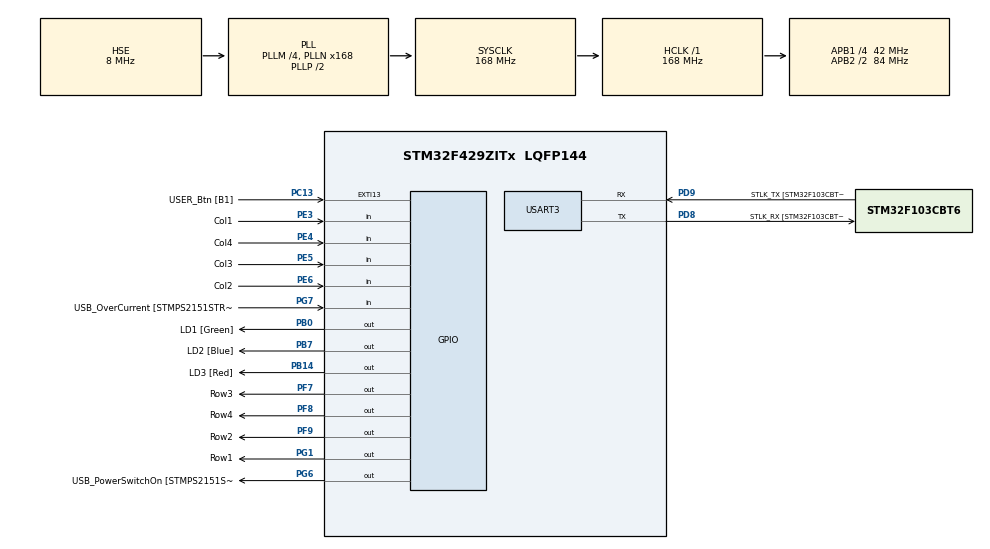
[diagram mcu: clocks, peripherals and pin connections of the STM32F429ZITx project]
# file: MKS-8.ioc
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Mcu.Family=STM32F4
Mcu.Name=STM32F429ZITx
Mcu.Package=LQFP144
NVIC.PriorityGroup=NVIC_PRIORITYGROUP_4
NVIC.TIM3_IRQn=true\:0\:0\:false\:false\:true\:true\:true
PA1.GPIO_Label=RMII_REF_CLK [LAN8742A-CZ-TR_REFCLK0]
PA1.Signal=ETH_REF_CLK
PA10.GPIO_Label=USB_ID
PA10.Signal=USB_OTG_FS_ID
PA11.GPIO_Label=USB_DM
PA11.Signal=USB_OTG_FS_DM
PA12.GPIO_Label=USB_DP
PA12.Signal=USB_OTG_FS_DP
PA13.GPIO_Label=TMS
PA13.Mode=Serial_Wire
PA13.Signal=SYS_JTMS-SWDIO
PA14.GPIO_Label=TCK
PA14.Mode=Serial_Wire
PA14.Signal=SYS_JTCK-SWCLK
PA2.GPIO_Label=RMII_MDIO [LAN8742A-CZ-TR_MDIO]
PA2.Signal=ETH_MDIO
PA7.GPIO_Label=RMII_CRS_DV [LAN8742A-CZ-TR_CRS_DV]
PA7.Signal=ETH_CRS_DV
PA8.GPIO_Label=USB_SOF [TP1]
PA8.Signal=USB_OTG_FS_SOF
PA9.GPIO_Label=USB_VBUS
PA9.Signal=USB_OTG_FS_VBUS
PB0.GPIO_Label=LD1 [Green]
PB0.Signal=GPIO_Output
PB13.GPIO_Label=RMII_TXD1 [LAN8742A-CZ-TR_TXD1]
PB13.Signal=ETH_TXD1
PB14.GPIO_Label=LD3 [Red]
PB14.Signal=GPIO_Output
PB7.GPIO_Label=LD2 [Blue]
PB7.Signal=GPIO_Output
PC1.GPIO_Label=RMII_MDC [LAN8742A-CZ-TR_MDC]
PC1.Signal=ETH_MDC
PC13.GPIO_Label=USER_Btn [B1]
PC13.Signal=GPXTI13
PC14/OSC32_IN.Mode=LSE-External-Oscillator
PC14/OSC32_IN.Signal=RCC_OSC32_IN
PC15/OSC32_OUT.Mode=LSE-External-Oscillator
PC15/OSC32_OUT.Signal=RCC_OSC32_OUT
PC4.GPIO_Label=RMII_RXD0 [LAN8742A-CZ-TR_RXD0]
PC4.Signal=ETH_RXD0
PC5.GPIO_Label=RMII_RXD1 [LAN8742A-CZ-TR_RXD1]
PC5.Signal=ETH_RXD1
PD8.GPIO_Label=STLK_RX [STM32F103CBT6_PA3]
PD8.Mode=Asynchronous
PD8.Signal=USART3_TX
PD9.GPIO_Label=STLK_TX [STM32F103CBT6_PA2]
PD9.Mode=Asynchronous
PD9.Signal=USART3_RX
PE3.GPIO_Label=Col1
PE3.GPIO_PuPd=GPIO_PULLUP
PE3.Signal=GPIO_Input
PE4.GPIO_Label=Col4
PE4.GPIO_PuPd=GPIO_PULLUP
PE4.Signal=GPIO_Input
PE5.GPIO_Label=Col3
PE5.GPIO_PuPd=GPIO_PULLUP
PE5.Signal=GPIO_Input
PE6.GPIO_Label=Col2
PE6.GPIO_PuPd=GPIO_PULLUP
PE6.Signal=GPIO_Input
PF7.GPIO_Label=Row3
PF7.GPIO_ModeDefaultOutputPP=GPIO_MODE_OUTPUT_OD
PF7.Signal=GPIO_Output
PF8.GPIO_Label=Row4
PF8.GPIO_ModeDefaultOutputPP=GPIO_MODE_OUTPUT_OD
PF8.Signal=GPIO_Output
PF9.GPIO_Label=Row2
PF9.GPIO_ModeDefaultOutputPP=GPIO_MODE_OUTPUT_OD
PF9.Signal=GPIO_Output
PG1.GPIO_Label=Row1
PG1.GPIO_ModeDefaultOutputPP=GPIO_MODE_OUTPUT_OD
PG1.Signal=GPIO_Output
PG11.GPIO_Label=RMII_TX_EN [LAN8742A-CZ-TR_TXEN]
PG11.Signal=ETH_TX_EN
PG13.GPIO_Label=RMII_TXD0 [LAN8742A-CZ-TR_TXD0]
PG13.Signal=ETH_TXD0
PG6.GPIO_Label=USB_PowerSwitchOn [STMPS2151STR_EN]
PG6.Signal=GPIO_Output
PG7.GPIO_Label=USB_OverCurrent [STMPS2151STR_FAULT]
PG7.Signal=GPIO_Input
PH0/OSC_IN.GPIO_Label=MCO [STM32F103CBT6_PA8]
PH0/OSC_IN.Mode=HSE-External-Clock-Source
PH0/OSC_IN.Signal=RCC_OSC_IN
PH1/OSC_OUT.Mode=HSE-External-Clock-Source
PH1/OSC_OUT.Signal=RCC_OSC_OUT
ProjectManager.HeapSize=0x200
ProjectManager.StackSize=0x400
ProjectManager.TargetToolchain=STM32CubeIDE
RCC.48MHZClocksFreq_Value=48000000
RCC.AHBFreq_Value=168000000
RCC.APB1CLKDivider=RCC_HCLK_DIV4
RCC.APB1Freq_Value=42000000
RCC.APB1TimFreq_Value=84000000
RCC.APB2CLKDivider=RCC_HCLK_DIV2
RCC.APB2Freq_Value=84000000
RCC.APB2TimCLKDivider=2
RCC.APB2TimFreq_Value=168000000
RCC.CortexFreq_Value=168000000
RCC.HCLKFreq_Value=168000000
RCC.HSE_VALUE=8000000
RCC.HSI_VALUE=16000000
RCC.PLLM=4
RCC.PLLMUL=RCC_PLL_MUL9
RCC.PLLN=168
RCC.PLLQ=7
RCC.PLLSourceVirtual=RCC_PLLSOURCE_HSE
RCC.PRESCALERUSB=RCC_USBCLKSOURCE_PLL_DIV1_5
RCC.SYSCLKFreq_VALUE=168000000
RCC.SYSCLKSource=RCC_SYSCLKSOURCE_PLLCLK
RCC.SYSCLKSourceVirtual=RCC_SYSCLKSOURCE_PLLCLK
RCC.USBFreq_Value=48000000
RCC.VCOOutputFreq_Value=336000000
TIM3.AutoReloadPreload=TIM_AUTORELOAD_PRELOAD_ENABLE
USART3.VirtualMode=VM_ASYNC
VP_TIM3_VS_ClockSourceINT.Mode=Internal
board=NUCLEO-F429ZI

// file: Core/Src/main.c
/* USER CODE BEGIN Header */
/**
  ******************************************************************************
  * @file           : main.c
  * @brief          : Main program body
  ******************************************************************************
  * @attention
  *
  * <h2><center>&copy; Copyright (c) 2021 STMicroelectronics.
  * All rights reserved.</center></h2>
  *
  * This software component is licensed by ST under BSD 3-Clause license,
  * the "License"; You may not use this file except in compliance with the
  * License. You may obtain a copy of the License at:
  *                        opensource.org/licenses/BSD-3-Clause
  *
  ******************************************************************************
  */
/* USER CODE END Header */
#include "main.h"

/* USER CODE BEGIN Includes */

#include <stdio.h>

/* USER CODE END Includes */

TIM_HandleTypeDef htim3;

UART_HandleTypeDef huart3;

/* USER CODE BEGIN PV */

static volatile int8_t key = -1;
static volatile int8_t pos = 0;
static const int8_t lock[] = { 7, 9, 3, 2, 12 };

/* USER CODE END PV */

void SystemClock_Config(void);
static void MX_GPIO_Init(void);
static void MX_USART3_UART_Init(void);
static void MX_TIM3_Init(void);

/* USER CODE BEGIN 0 */

int __io_putchar(int ch)
{
  ITM_SendChar(ch);
  return 0;
}

/* USER CODE END 0 */

int main(void)
{
  /* USER CODE BEGIN 1 */

	  printf("...START\n");

  /* USER CODE END 1 */

  /* MCU Configuration--------------------------------------------------------*/

  /* Reset of all peripherals, Initializes the Flash interface and the Systick. */
  HAL_Init();

  /* Configure the system clock */
  SystemClock_Config();

  /* Initialize all configured peripherals */
  MX_GPIO_Init();
  MX_USART3_UART_Init();
  MX_TIM3_Init();
  /* USER CODE BEGIN 2 */

  HAL_TIM_Base_Start_IT(&htim3);

  /* USER CODE END 2 */

  /* Infinite loop */
  /* USER CODE BEGIN WHILE */
  while (1)
  {
/*
	  HAL_GPIO_TogglePin(LD1_GPIO_Port, LD1_Pin);
	  HAL_Delay(250);
	  printf("Tick\n");
*/
/*
if (key != -1)
{
	printf("klavesa = %d\n",key);
	key=-1;
}*/

if (key != -1)
{
	//printf("klavesa = %d\n",key);

	if(key == lock[pos])
		{
			//HAL_GPIO_TogglePin(LD1_GPIO_Port, LD1_Pin);
			printf("klavesa = %d\n OK ",key);
			HAL_Delay(250);

			if(pos >= 4)
				{
					printf("Zamek se podrilo odemknout ",key);
					pos = 0;
				}
			pos++;
		}
	key=-1;
}

    /* USER CODE END WHILE */

  }
}

void SystemClock_Config(void)
{
  RCC_OscInitTypeDef RCC_OscInitStruct = {0};
  RCC_ClkInitTypeDef RCC_ClkInitStruct = {0};

  /** Configure the main internal regulator output voltage
  */
  __HAL_RCC_PWR_CLK_ENABLE();
  __HAL_PWR_VOLTAGESCALING_CONFIG(PWR_REGULATOR_VOLTAGE_SCALE1);
  /** Initializes the RCC Oscillators according to the specified parameters
  * in the RCC_OscInitTypeDef structure.
  */
  RCC_OscInitStruct.OscillatorType = RCC_OSCILLATORTYPE_HSE;
  RCC_OscInitStruct.HSEState = RCC_HSE_BYPASS;
  RCC_OscInitStruct.PLL.PLLState = RCC_PLL_ON;
  RCC_OscInitStruct.PLL.PLLSource = RCC_PLLSOURCE_HSE;
  RCC_OscInitStruct.PLL.PLLM = 4;
  RCC_OscInitStruct.PLL.PLLN = 168;
  RCC_OscInitStruct.PLL.PLLP = RCC_PLLP_DIV2;
  RCC_OscInitStruct.PLL.PLLQ = 7;
  if (HAL_RCC_OscConfig(&RCC_OscInitStruct) != HAL_OK)
  {
    Error_Handler();
  }
  /** Initializes the CPU, AHB and APB buses clocks
  */
  RCC_ClkInitStruct.ClockType = RCC_CLOCKTYPE_HCLK|RCC_CLOCKTYPE_SYSCLK
                              |RCC_CLOCKTYPE_PCLK1|RCC_CLOCKTYPE_PCLK2;
  RCC_ClkInitStruct.SYSCLKSource = RCC_SYSCLKSOURCE_PLLCLK;
  RCC_ClkInitStruct.AHBCLKDivider = RCC_SYSCLK_DIV1;
  RCC_ClkInitStruct.APB1CLKDivider = RCC_HCLK_DIV4;
  RCC_ClkInitStruct.APB2CLKDivider = RCC_HCLK_DIV2;

  if (HAL_RCC_ClockConfig(&RCC_ClkInitStruct, FLASH_LATENCY_5) != HAL_OK)
  {
    Error_Handler();
  }
}

static void MX_TIM3_Init(void)
{

  TIM_ClockConfigTypeDef sClockSourceConfig = {0};
  TIM_MasterConfigTypeDef sMasterConfig = {0};

  htim3.Instance = TIM3;
  htim3.Init.Prescaler = 0;
  htim3.Init.CounterMode = TIM_COUNTERMODE_UP;
  htim3.Init.Period = 65535;
  htim3.Init.ClockDivision = TIM_CLOCKDIVISION_DIV1;
  htim3.Init.AutoReloadPreload = TIM_AUTORELOAD_PRELOAD_ENABLE;
  if (HAL_TIM_Base_Init(&htim3) != HAL_OK)
  {
    Error_Handler();
  }
  sClockSourceConfig.ClockSource = TIM_CLOCKSOURCE_INTERNAL;
  if (HAL_TIM_ConfigClockSource(&htim3, &sClockSourceConfig) != HAL_OK)
  {
    Error_Handler();
  }
  sMasterConfig.MasterOutputTrigger = TIM_TRGO_RESET;
  sMasterConfig.MasterSlaveMode = TIM_MASTERSLAVEMODE_DISABLE;
  if (HAL_TIMEx_MasterConfigSynchronization(&htim3, &sMasterConfig) != HAL_OK)
  {
    Error_Handler();
  }

}

static void MX_USART3_UART_Init(void)
{

  huart3.Instance = USART3;
  huart3.Init.BaudRate = 115200;
  huart3.Init.WordLength = UART_WORDLENGTH_8B;
  huart3.Init.StopBits = UART_STOPBITS_1;
  huart3.Init.Parity = UART_PARITY_NONE;
  huart3.Init.Mode = UART_MODE_TX_RX;
  huart3.Init.HwFlowCtl = UART_HWCONTROL_NONE;
  huart3.Init.OverSampling = UART_OVERSAMPLING_16;
  if (HAL_UART_Init(&huart3) != HAL_OK)
  {
    Error_Handler();
  }

}

static void MX_GPIO_Init(void)
{
  GPIO_InitTypeDef GPIO_InitStruct = {0};

  /* GPIO Ports Clock Enable */
  __HAL_RCC_GPIOE_CLK_ENABLE();
  __HAL_RCC_GPIOC_CLK_ENABLE();
  __HAL_RCC_GPIOF_CLK_ENABLE();
  __HAL_RCC_GPIOH_CLK_ENABLE();
  __HAL_RCC_GPIOA_CLK_ENABLE();
  __HAL_RCC_GPIOB_CLK_ENABLE();
  __HAL_RCC_GPIOG_CLK_ENABLE();
  __HAL_RCC_GPIOD_CLK_ENABLE();

  /*Configure GPIO pin Output Level */
  HAL_GPIO_WritePin(GPIOF, Row3_Pin|Row4_Pin|Row2_Pin, GPIO_PIN_RESET);

  /*Configure GPIO pin Output Level */
  HAL_GPIO_WritePin(GPIOB, LD1_Pin|LD3_Pin|LD2_Pin, GPIO_PIN_RESET);

  /*Configure GPIO pin Output Level */
  HAL_GPIO_WritePin(GPIOG, Row1_Pin|USB_PowerSwitchOn_Pin, GPIO_PIN_RESET);

  /*Configure GPIO pins : Col1_Pin Col4_Pin Col3_Pin Col2_Pin */
  GPIO_InitStruct.Pin = Col1_Pin|Col4_Pin|Col3_Pin|Col2_Pin;
  GPIO_InitStruct.Mode = GPIO_MODE_INPUT;
  GPIO_InitStruct.Pull = GPIO_PULLUP;
  HAL_GPIO_Init(GPIOE, &GPIO_InitStruct);

  /*Configure GPIO pin : USER_Btn_Pin */
  GPIO_InitStruct.Pin = USER_Btn_Pin;
  GPIO_InitStruct.Mode = GPIO_MODE_IT_RISING;
  GPIO_InitStruct.Pull = GPIO_NOPULL;
  HAL_GPIO_Init(USER_Btn_GPIO_Port, &GPIO_InitStruct);

  /*Configure GPIO pins : Row3_Pin Row4_Pin Row2_Pin */
  GPIO_InitStruct.Pin = Row3_Pin|Row4_Pin|Row2_Pin;
  GPIO_InitStruct.Mode = GPIO_MODE_OUTPUT_OD;
  GPIO_InitStruct.Pull = GPIO_NOPULL;
  GPIO_InitStruct.Speed = GPIO_SPEED_FREQ_LOW;
  HAL_GPIO_Init(GPIOF, &GPIO_InitStruct);

  /*Configure GPIO pins : RMII_MDC_Pin RMII_RXD0_Pin RMII_RXD1_Pin */
  GPIO_InitStruct.Pin = RMII_MDC_Pin|RMII_RXD0_Pin|RMII_RXD1_Pin;
  GPIO_InitStruct.Mode = GPIO_MODE_AF_PP;
  GPIO_InitStruct.Pull = GPIO_NOPULL;
  GPIO_InitStruct.Speed = GPIO_SPEED_FREQ_VERY_HIGH;
  GPIO_InitStruct.Alternate = GPIO_AF11_ETH;
  HAL_GPIO_Init(GPIOC, &GPIO_InitStruct);

  /*Configure GPIO pins : RMII_REF_CLK_Pin RMII_MDIO_Pin RMII_CRS_DV_Pin */
  GPIO_InitStruct.Pin = RMII_REF_CLK_Pin|RMII_MDIO_Pin|RMII_CRS_DV_Pin;
  GPIO_InitStruct.Mode = GPIO_MODE_AF_PP;
  GPIO_InitStruct.Pull = GPIO_NOPULL;
  GPIO_InitStruct.Speed = GPIO_SPEED_FREQ_VERY_HIGH;
  GPIO_InitStruct.Alternate = GPIO_AF11_ETH;
  HAL_GPIO_Init(GPIOA, &GPIO_InitStruct);

  /*Configure GPIO pins : LD1_Pin LD3_Pin LD2_Pin */
  GPIO_InitStruct.Pin = LD1_Pin|LD3_Pin|LD2_Pin;
  GPIO_InitStruct.Mode = GPIO_MODE_OUTPUT_PP;
  GPIO_InitStruct.Pull = GPIO_NOPULL;
  GPIO_InitStruct.Speed = GPIO_SPEED_FREQ_LOW;
  HAL_GPIO_Init(GPIOB, &GPIO_InitStruct);

  /*Configure GPIO pin : Row1_Pin */
  GPIO_InitStruct.Pin = Row1_Pin;
  GPIO_InitStruct.Mode = GPIO_MODE_OUTPUT_OD;
  GPIO_InitStruct.Pull = GPIO_NOPULL;
  GPIO_InitStruct.Speed = GPIO_SPEED_FREQ_LOW;
  HAL_GPIO_Init(Row1_GPIO_Port, &GPIO_InitStruct);

  /*Configure GPIO pin : RMII_TXD1_Pin */
  GPIO_InitStruct.Pin = RMII_TXD1_Pin;
  GPIO_InitStruct.Mode = GPIO_MODE_AF_PP;
  GPIO_InitStruct.Pull = GPIO_NOPULL;
  GPIO_InitStruct.Speed = GPIO_SPEED_FREQ_VERY_HIGH;
  GPIO_InitStruct.Alternate = GPIO_AF11_ETH;
  HAL_GPIO_Init(RMII_TXD1_GPIO_Port, &GPIO_InitStruct);

  /*Configure GPIO pin : USB_PowerSwitchOn_Pin */
  GPIO_InitStruct.Pin = USB_PowerSwitchOn_Pin;
  GPIO_InitStruct.Mode = GPIO_MODE_OUTPUT_PP;
  GPIO_InitStruct.Pull = GPIO_NOPULL;
  GPIO_InitStruct.Speed = GPIO_SPEED_FREQ_LOW;
  HAL_GPIO_Init(USB_PowerSwitchOn_GPIO_Port, &GPIO_InitStruct);

  /*Configure GPIO pin : USB_OverCurrent_Pin */
  GPIO_InitStruct.Pin = USB_OverCurrent_Pin;
  GPIO_InitStruct.Mode = GPIO_MODE_INPUT;
  GPIO_InitStruct.Pull = GPIO_NOPULL;
  HAL_GPIO_Init(USB_OverCurrent_GPIO_Port, &GPIO_InitStruct);

  /*Configure GPIO pins : USB_SOF_Pin USB_ID_Pin USB_DM_Pin USB_DP_Pin */
  GPIO_InitStruct.Pin = USB_SOF_Pin|USB_ID_Pin|USB_DM_Pin|USB_DP_Pin;
  GPIO_InitStruct.Mode = GPIO_MODE_AF_PP;
  GPIO_InitStruct.Pull = GPIO_NOPULL;
  GPIO_InitStruct.Speed = GPIO_SPEED_FREQ_VERY_HIGH;
  GPIO_InitStruct.Alternate = GPIO_AF10_OTG_FS;
  HAL_GPIO_Init(GPIOA, &GPIO_InitStruct);

  /*Configure GPIO pin : USB_VBUS_Pin */
  GPIO_InitStruct.Pin = USB_VBUS_Pin;
  GPIO_InitStruct.Mode = GPIO_MODE_INPUT;
  GPIO_InitStruct.Pull = GPIO_NOPULL;
  HAL_GPIO_Init(USB_VBUS_GPIO_Port, &GPIO_InitStruct);

  /*Configure GPIO pins : RMII_TX_EN_Pin RMII_TXD0_Pin */
  GPIO_InitStruct.Pin = RMII_TX_EN_Pin|RMII_TXD0_Pin;
  GPIO_InitStruct.Mode = GPIO_MODE_AF_PP;
  GPIO_InitStruct.Pull = GPIO_NOPULL;
  GPIO_InitStruct.Speed = GPIO_SPEED_FREQ_VERY_HIGH;
  GPIO_InitStruct.Alternate = GPIO_AF11_ETH;
  HAL_GPIO_Init(GPIOG, &GPIO_InitStruct);

}

/* USER CODE BEGIN 4 */

void HAL_TIM_PeriodElapsedCallback(TIM_HandleTypeDef *htim)
{
  static int row = 0;
  static const int keyboard[4][4] = {
    {  1,  2,  3, 21 },
    {  4,  5,  6, 22 },
    {  7,  8,  9, 23 },
    { 11,  0, 12, 24 },
  };

  if (key == -1) {
    if (HAL_GPIO_ReadPin(Col1_GPIO_Port, Col1_Pin) == GPIO_PIN_RESET) key = keyboard[row][0];
    if (HAL_GPIO_ReadPin(Col2_GPIO_Port, Col2_Pin) == GPIO_PIN_RESET) key = keyboard[row][1];
	if (HAL_GPIO_ReadPin(Col3_GPIO_Port, Col3_Pin) == GPIO_PIN_RESET) key = keyboard[row][2];
	if (HAL_GPIO_ReadPin(Col4_GPIO_Port, Col4_Pin) == GPIO_PIN_RESET) key = keyboard[row][3];
  }

  HAL_GPIO_WritePin(Row1_GPIO_Port, Row1_Pin, GPIO_PIN_SET);
  HAL_GPIO_WritePin(Row2_GPIO_Port, Row2_Pin, GPIO_PIN_SET);
  HAL_GPIO_WritePin(Row3_GPIO_Port, Row3_Pin, GPIO_PIN_SET);
  HAL_GPIO_WritePin(Row4_GPIO_Port, Row4_Pin, GPIO_PIN_SET);
  switch (row) {
    case 0: row = 1; HAL_GPIO_WritePin(Row2_GPIO_Port, Row2_Pin, GPIO_PIN_RESET); break;
    case 1: row = 2; HAL_GPIO_WritePin(Row3_GPIO_Port, Row3_Pin, GPIO_PIN_RESET); break;
	case 2: row = 3; HAL_GPIO_WritePin(Row4_GPIO_Port, Row4_Pin, GPIO_PIN_RESET); break;
	case 3: row = 0; HAL_GPIO_WritePin(Row1_GPIO_Port, Row1_Pin, GPIO_PIN_RESET); break;
  }
}

/* USER CODE END 4 */

void Error_Handler(void)
{
  __disable_irq();
  while (1)
  {
  }
}

/************************ (C) COPYRIGHT STMicroelectronics *****END OF FILE****/
